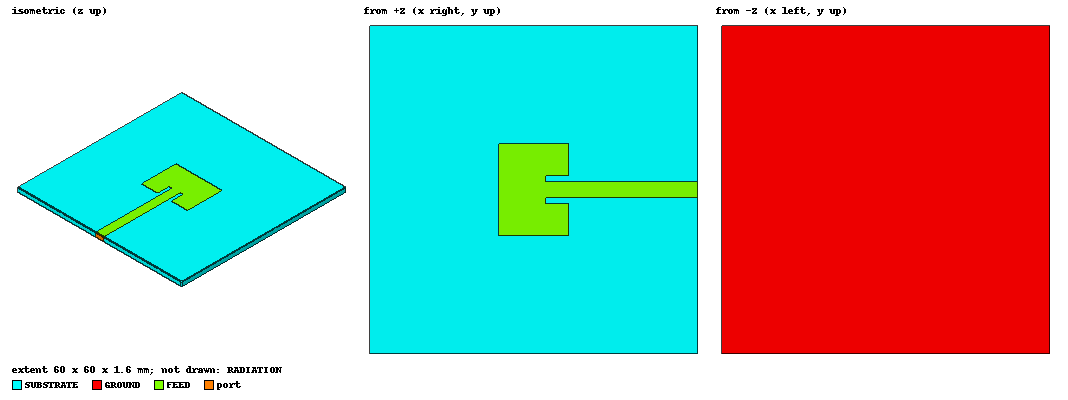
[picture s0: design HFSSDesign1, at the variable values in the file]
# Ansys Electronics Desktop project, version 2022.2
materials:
  vacuum: permittivity=1
  FR4_epoxy: permittivity=4.4 dielectric_loss_tangent=0.02
  air: permittivity=1.0006 permeability=1.0000004

design HFSSDesign1 (HFSS, DrivenTerminal, model units mm)
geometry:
  GROUND = rectangle(corner=(0mm, 0mm, 0mm), x_size=60mm, y_size=60mm)
  SUBSTRATE [FR4_epoxy] = box(corner=(0mm, 0mm, 0mm), size=(60mm, 60mm, 1.6mm))
  PATCH = rectangle(corner=((30-12.68/2) mm, (30-16.905/2) mm, 1.6mm), x_size=12.68mm, y_size=16.905mm)
  FEED = rectangle(corner=(30mm, (30-1.5) mm, 1.6mm), x_size=30mm, y_size=3mm)
  CUT = rectangle(corner=((30 +12.68/2-12.68/3) mm, (30-2.5) mm, 1.6mm), x_size=(12.68/3) mm, y_size=5mm)
  PATCH.subtract(CUT)
  FEED.unite(PATCH)
  port = rectangle(corner=(60mm, 28.5mm, 1.6mm), y_size=3mm, z_size=-1.6mm)
  RADIATION [air] = box(corner=(-10mm, -10mm, -40mm), size=(80mm, 80mm, 80mm))
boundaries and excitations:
  PerfE1: Perfect E Objects=[GROUND, FEED] InfGroundPlane
  Rad1: Radiation Objects=RADIATION
  GROUND_T1: Terminal port=input Edges=GROUND.edge(x opposite corner) TerminalResistance=50ohm
  input: Lumped Port Faces=port.face RenormalizeAllTerminals=false Impedance=50ohm
  reference conductors: FEED
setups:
  Setup1: HfssDriven Frequency=5.4GHz MaxDeltaS=0.02 MaximumPasses=99 MinimumPasses=1 MinimumConvergedPasses=1 PercentRefinement=30 BasisOrder=1 PortAccuracy=2 DrivenSolverType="Direct Solver"
    sweep Sweep: 0.7GHz to 8.1GHz step 0.01GHz; Type=Fast SaveFields
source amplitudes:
  input:1: 1 0deg
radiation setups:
  Infinite Sphere1: Infinite Sphere Theta=0deg..180deg step 10deg Phi=0deg..30deg step 10deg
  Infinite Sphere2: Infinite Sphere Theta=0deg..180deg step 10deg Phi=0deg..360deg step 10deg
  RADIATION PLOT: Infinite Sphere Theta=0deg..180deg step 10deg Phi=0deg..360deg step 10deg
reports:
  Terminal S Parameter Plot 1: dB(St(GROUND_T1,GROUND_T1)) vs Freq on Setup1 : Sweep; markers m1 at 5.41GHz, m2 at 5.41GHz, m3 at 5.41GHz, m4 at 5.41GHz
  Gain Plot 1: GainTotal vs Theta on Setup1 : LastAdaptive, Infinite Sphere1 [Phi=all Freq=5.4GHz]
  Directivity Plot 1: DirTotal vs Theta on Setup1 : LastAdaptive, Infinite Sphere1 [Phi=all Freq=5.4GHz]
  rE Plot 1: rETotal vs Theta on Setup1 : LastAdaptive, Infinite Sphere1 [Phi=all Freq=5.4GHz]
